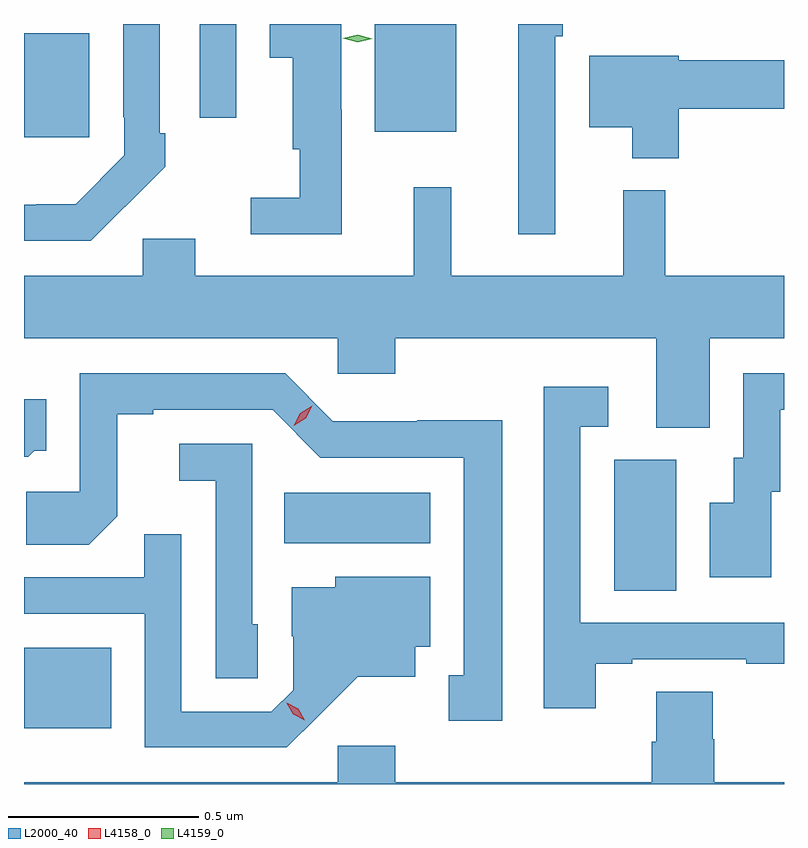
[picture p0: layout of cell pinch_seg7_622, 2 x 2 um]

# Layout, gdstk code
import gdstk
lib = gdstk.Library(unit=1e-6, precision=1e-09)
def R(c, l, rs):  # rectangles x0, y0, x1, y1
    for r in rs: c.add(gdstk.rectangle(r[:2], r[2:], *l))
def P(c, l, *ps):  # polygons
    for p in ps: c.add(gdstk.Polygon(p, *l))
L2000_40 = (2000, 40)
L4158_0 = (4158, 0)
L4159_0 = (4159, 0)

pinch_seg7_622 = lib.new_cell('pinch_seg7_622')
R(pinch_seg7_622, L2000_40, [(181.749,1055.534,181.978,1055.746), (183.302,1055.896,183.466,1056.24), (182.434,1056.02,182.818,1056.154), (181.749,1057.089,181.921,1057.363), (182.672,1057.103,182.887,1057.387), (182.211,1057.14,182.307,1057.387)])
P(pinch_seg7_622, L2000_40, [(182.015,1056.907),(182.016,1056.906),(182.121,1057.011),(182.121,1057.099),(182.106,1057.099),(182.106,1057.387),(182.01,1057.387),(182.01,1057.141),(182.013,1057.141),(182.013,1057.041),(181.885,1056.913),(181.781,1056.913),(181.781,1056.912),(181.749,1056.912),(181.749,1056.816),(181.924,1056.816)],
  [(182.585,1057.162),(182.584,1057.162),(182.584,1057.387),(182.396,1057.387),(182.396,1057.298),(182.456,1057.298),(182.456,1057.058),(182.475,1057.058),(182.475,1056.93),(182.346,1056.93),(182.346,1056.834),(182.585,1056.834)],
  [(183.147,1057.355),(183.167,1057.355),(183.167,1057.387),(183.05,1057.387),(183.05,1056.834),(183.147,1056.834)],
  [(183.472,1057.164),(183.749,1057.164),(183.749,1057.292),(183.472,1057.292),(183.472,1057.303),(183.236,1057.303),(183.236,1057.115),(183.35,1057.115),(183.35,1057.034),(183.472,1057.034)],
  [(183.553,1056.56),(183.749,1056.56),(183.749,1056.724),(183.436,1056.724),(183.436,1056.949),(183.326,1056.949),(183.326,1056.724),(182.873,1056.724),(182.873,1056.958),(182.774,1056.958),(182.774,1056.724),(182.2,1056.724),(182.2,1056.822),(182.061,1056.822),(182.061,1056.724),(181.749,1056.724),(181.749,1056.56),(182.574,1056.56),(182.574,1056.467),(182.726,1056.467),(182.726,1056.56),(183.413,1056.56),(183.413,1056.325),(183.553,1056.325)],
  [(183.715,1056.156),(183.739,1056.156),(183.739,1056.372),(183.749,1056.372),(183.749,1056.468),(183.642,1056.468),(183.642,1056.246),(183.617,1056.246),(183.617,1056.127),(183.554,1056.127),(183.554,1055.931),(183.715,1055.931)],
  [(183.007,1056.344),(182.784,1056.344),(182.784,1056.342),(182.562,1056.342),(182.436,1056.468),(181.896,1056.468),(181.896,1056.156),(181.755,1056.156),(181.755,1056.016),(181.919,1056.016),(181.995,1056.092),(181.995,1056.36),(182.089,1056.36),(182.089,1056.372),(182.403,1056.372),(182.529,1056.246),(182.906,1056.246),(182.906,1055.673),(182.867,1055.673),(182.867,1055.553),(183.007,1055.553)],
  [(183.253,1055.703),(183.349,1055.703),(183.349,1055.715),(183.649,1055.715),(183.649,1055.703),(183.749,1055.703),(183.749,1055.811),(183.213,1055.811),(183.213,1056.327),(183.286,1056.327),(183.286,1056.433),(183.117,1056.433),(183.117,1055.586),(183.253,1055.586)],
  [(181.776,1056.264),(181.807,1056.264),(181.807,1056.4),(181.749,1056.4),(181.749,1056.248),(181.76,1056.248)],
  [(182.364,1055.808),(182.349,1055.808),(182.349,1056.282),(182.157,1056.282),(182.157,1056.185),(182.253,1056.185),(182.253,1055.665),(182.364,1055.665)],
  [(182.524,1055.567),(182.627,1055.669),(182.779,1055.669),(182.779,1055.748),(182.818,1055.748),(182.818,1055.932),(182.568,1055.932),(182.568,1055.905),(182.453,1055.905),(182.453,1055.776),(182.457,1055.776),(182.457,1055.634),(182.4,1055.577),(182.163,1055.577),(182.163,1056.044),(182.065,1056.044),(182.065,1055.931),(181.749,1055.931),(181.749,1055.835),(182.067,1055.835),(182.067,1055.484),(182.44,1055.484)],
  [(183.749,1055.392),(183.566,1055.392),(183.566,1055.505),(183.561,1055.505),(183.561,1055.63),(183.413,1055.63),(183.413,1055.498),(183.401,1055.498),(183.401,1055.392),(182.726,1055.392),(182.726,1055.488),(182.574,1055.488),(182.574,1055.392),(181.749,1055.392),(181.749,1055.387),(183.749,1055.387)])
P(pinch_seg7_622, L4158_0, [(182.459,1056.33),(182.459,1056.33),(182.476,1056.363),(182.507,1056.382),(182.508,1056.382),(182.508,1056.382),(182.49,1056.349),(182.459,1056.33)],
  [(182.488,1055.555),(182.457,1055.571),(182.44,1055.6),(182.44,1055.601),(182.44,1055.601),(182.471,1055.585),(182.488,1055.555),(182.488,1055.555)])
P(pinch_seg7_622, L4159_0, [(182.627,1057.339),(182.588,1057.349),(182.588,1057.349),(182.588,1057.35),(182.627,1057.359),(182.666,1057.348),(182.666,1057.348),(182.666,1057.348)])

lib.write_gds('pinch_seg7_622.gds')
